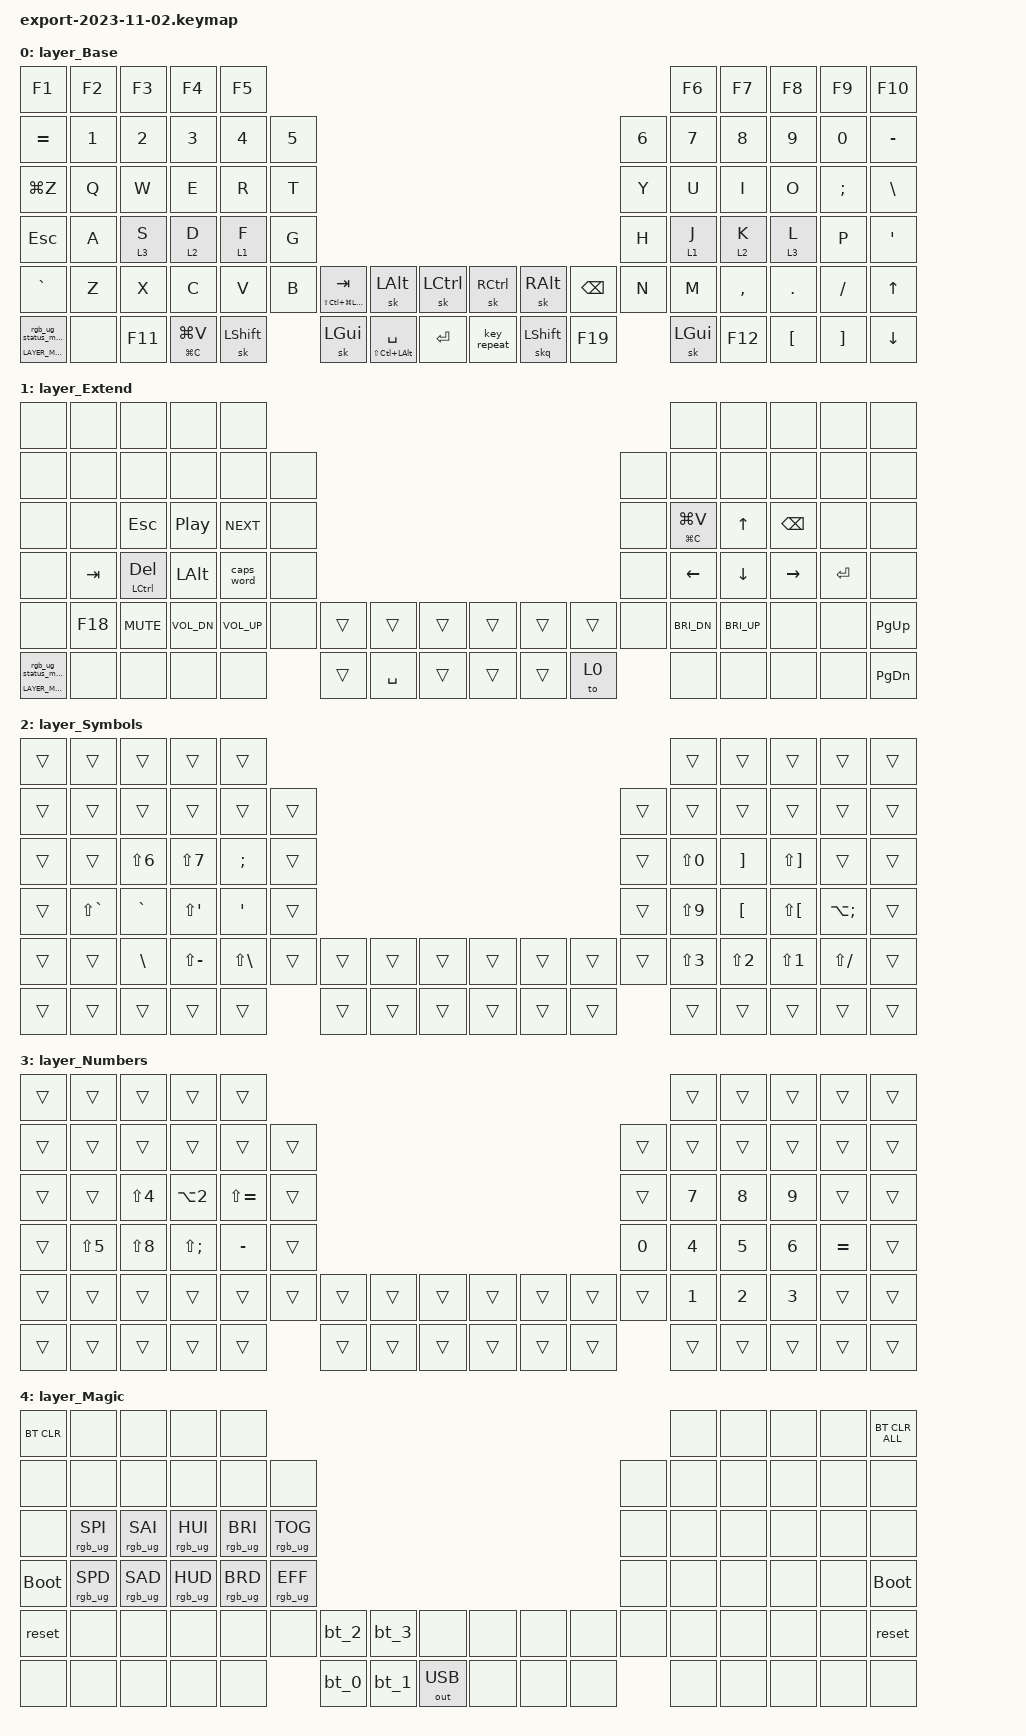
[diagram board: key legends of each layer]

/*
 * Copyright (c) 2020 The ZMK Contributors
 * Copyright (c) 2023 Innaworks Development Limited, trading as MoErgo
 *
 * SPDX-License-Identifier: MIT
 */


/* THIS FILE WAS GENERATED BY GLOVE80 LAYOUT EDITOR
 *
 * This file was generated automatically. You may or may not want to
 * edit it directly.
 */

#include <behaviors.dtsi>
/* Include all behaviour includes needed */
#include <dt-bindings/zmk/outputs.h>
#include <dt-bindings/zmk/keys.h>
#include <dt-bindings/zmk/bt.h>
#include <dt-bindings/zmk/rgb.h>

/* Automatically generated layer name #define */
#define LAYER_Base 0
#define LAYER_Extend 1
#define LAYER_Symbols 2
#define LAYER_Numbers 3
#define LAYER_Magic 4

/* To deal with the situation where there is no Lower layer, to keep &lower happy */
#ifndef LAYER_Lower
#define LAYER_Lower 0
#endif

/ {
    /* Glove80 system behavior & macros */
    behaviors {
        // For the "layer" key, it'd nice to be able to use it as either a shift or a toggle.
        // Configure it as a tap dance, so the first tap (or hold) is a &mo and the second tap is a &to
        lower: lower {
            compatible = "zmk,behavior-tap-dance";
            label = "LAYER_TAP_DANCE";
            #binding-cells = <0>;
            tapping-term-ms = <200>;
            bindings = <&mo LAYER_Lower>, <&to LAYER_Lower>;
        };
    };
};

/ {
    macros {
        rgb_ug_status_macro: rgb_ug_status_macro {
            label = "RGB_UG_STATUS";
            compatible = "zmk,behavior-macro";
            #binding-cells = <0>;
            bindings
                = <&rgb_ug RGB_STATUS>;
        };

        bt_0: bt_0 {
            label = "BT_0";
            compatible = "zmk,behavior-macro";
            #binding-cells = <0>;
            bindings
                = <&out OUT_BLE>,
                  <&bt BT_SEL 0>;
        };

        bt_1: bt_1 {
            label = "BT_1";
            compatible = "zmk,behavior-macro";
            #binding-cells = <0>;
            bindings
                = <&out OUT_BLE>,
                  <&bt BT_SEL 1>;
        };

        bt_2: bt_2 {
            label = "BT_2";
            compatible = "zmk,behavior-macro";
            #binding-cells = <0>;
            bindings
                = <&out OUT_BLE>,
                  <&bt BT_SEL 2>;
        };

        bt_3: bt_3 {
            label = "BT_3";
            compatible = "zmk,behavior-macro";
            #binding-cells = <0>;
            bindings
                = <&out OUT_BLE>,
                  <&bt BT_SEL 3>;
        };
    };
};

/ {
    magic: magic {
        compatible = "zmk,behavior-hold-tap";
        label = "MAGIC_HOLD_TAP";
        #binding-cells = <2>;
        flavor = "tap-preferred";
        tapping-term-ms = <200>;
        bindings = <&mo>, <&rgb_ug_status_macro>;
    };
};

    /* #define for key positions */
#define POS_LH_T1 52
#define POS_LH_T2 53
#define POS_LH_T3 54
#define POS_LH_T4 69
#define POS_LH_T5 70
#define POS_LH_T6 71
#define POS_LH_C1R2 15
#define POS_LH_C1R3 27
#define POS_LH_C1R4 39
#define POS_LH_C1R5 51
#define POS_LH_C2R1 4
#define POS_LH_C2R2 14
#define POS_LH_C2R3 26
#define POS_LH_C2R4 38
#define POS_LH_C2R5 50
#define POS_LH_C2R6 68
#define POS_LH_C3R1 3
#define POS_LH_C3R2 13
#define POS_LH_C3R3 25
#define POS_LH_C3R4 37
#define POS_LH_C3R5 49
#define POS_LH_C3R6 67
#define POS_LH_C4R1 2
#define POS_LH_C4R2 12
#define POS_LH_C4R3 24
#define POS_LH_C4R4 36
#define POS_LH_C4R5 48
#define POS_LH_C4R6 66
#define POS_LH_C5R1 1
#define POS_LH_C5R2 11
#define POS_LH_C5R3 23
#define POS_LH_C5R4 35
#define POS_LH_C5R5 47
#define POS_LH_C5R6 65
#define POS_LH_C6R1 0
#define POS_LH_C6R2 10
#define POS_LH_C6R3 22
#define POS_LH_C6R4 34
#define POS_LH_C6R5 46
#define POS_LH_C6R6 64
#define POS_RH_T1 57
#define POS_RH_T2 56
#define POS_RH_T3 55
#define POS_RH_T4 74
#define POS_RH_T5 73
#define POS_RH_T6 72
#define POS_RH_C1R2 16
#define POS_RH_C1R3 28
#define POS_RH_C1R4 40
#define POS_RH_C1R5 58
#define POS_RH_C2R1 5
#define POS_RH_C2R2 17
#define POS_RH_C2R3 29
#define POS_RH_C2R4 41
#define POS_RH_C2R5 59
#define POS_RH_C2R6 75
#define POS_RH_C3R1 6
#define POS_RH_C3R2 18
#define POS_RH_C3R3 30
#define POS_RH_C3R4 42
#define POS_RH_C3R5 60
#define POS_RH_C3R6 76
#define POS_RH_C4R1 7
#define POS_RH_C4R2 19
#define POS_RH_C4R3 31
#define POS_RH_C4R4 43
#define POS_RH_C4R5 61
#define POS_RH_C4R6 77
#define POS_RH_C5R1 8
#define POS_RH_C5R2 20
#define POS_RH_C5R3 32
#define POS_RH_C5R4 44
#define POS_RH_C5R5 62
#define POS_RH_C5R6 78
#define POS_RH_C6R1 9
#define POS_RH_C6R2 21
#define POS_RH_C6R3 33
#define POS_RH_C6R4 45
#define POS_RH_C6R5 63
#define POS_RH_C6R6 79

    /* Custom Defined Behaviors */
/ {
    #define MEH LS(LC(LALT))
#define HYPER LS(LC(LG(LALT)))

behaviors {
    behavior_mod_tap {
        tapping-term-ms = <220>;
        flavor = "tap-preferred";
    };

    behavior_layer_tap {
        tapping-term-ms = <220>;
        flavor = "tap-preferred";
    };

    skq: sticky_key_quick_release {
        compatible = "zmk,behavior-sticky-key";
        label = "STICKY_KEY_QUICK_RELEASE";
        #binding-cells = <1>;
        bindings = <&kp>;
        release-after-ms = <1000>;
        quick-release;
        ignore-modifiers;
      };
};
};

    /* Automatically generated keymap */
/ {
    keymap {
        compatible = "zmk,keymap";


        layer_Base {
            bindings = <
               &kp F1  &kp F2   &kp F3           &kp F4     &kp F5                                                                                                &kp F6     &kp F7    &kp F8    &kp F9    &kp F10
            &kp EQUAL  &kp N1   &kp N2           &kp N3     &kp N4  &kp N5                                                                              &kp N6    &kp N7     &kp N8    &kp N9    &kp N0  &kp MINUS
            &kp LG(Z)   &kp Q    &kp W            &kp E      &kp R   &kp T                                                                               &kp Y     &kp U      &kp I     &kp O  &kp SEMI   &kp BSLH
              &kp ESC   &kp A  &lt 3 S          &lt 2 D    &lt 1 F   &kp G                                                                               &kp H   &lt 1 J    &lt 2 K   &lt 3 L     &kp P    &kp SQT
            &kp GRAVE   &kp Z    &kp X            &kp C      &kp V   &kp B  &mt HYPER TAB       &sk LALT  &sk LCTRL    &sk RCTRL    &sk RALT  &kp BSPC   &kp N     &kp M  &kp COMMA   &kp DOT  &kp FSLH     &kp UP
 &magic LAYER_Magic 0   &none  &kp F11  &mt LG(C) LG(V)  &sk LSHFT               &sk LGUI  &mt MEH SPACE    &kp RET  &key_repeat  &skq LSHFT   &kp F19          &sk LGUI    &kp F12  &kp LBKT  &kp RBKT   &kp DOWN
            >;
        };

        layer_Extend {
            bindings = <
                &none    &none          &none         &none         &none                                                                               &none         &none      &none    &none      &none
                &none    &none          &none         &none         &none   &none                                                      &none            &none         &none      &none    &none      &none
                &none    &none        &kp ESC      &kp C_PP    &kp C_NEXT   &none                                                      &none  &mt LG(C) LG(V)        &kp UP   &kp BSPC    &none      &none
                &none  &kp TAB  &mt LCTRL DEL      &kp LALT    &caps_word   &none                                                      &none         &kp LEFT      &kp DOWN  &kp RIGHT  &kp RET      &none
                &none  &kp F18     &kp C_MUTE  &kp C_VOL_DN  &kp C_VOL_UP   &none  &trans     &trans  &trans  &trans  &trans  &trans   &none     &kp C_BRI_DN  &kp C_BRI_UP      &none    &none  &kp PG_UP
 &magic LAYER_Magic 0    &none          &none         &none         &none          &trans  &kp SPACE  &trans  &trans  &trans   &to 0                    &none         &none      &none    &none  &kp PG_DN
            >;
        };

        layer_Symbols {
            bindings = <
 &trans         &trans      &trans         &trans        &trans                                                                      &trans      &trans        &trans        &trans  &trans
 &trans         &trans      &trans         &trans        &trans  &trans                                                  &trans      &trans      &trans        &trans        &trans  &trans
 &trans         &trans  &kp LS(N6)     &kp LS(N7)      &kp SEMI  &trans                                                  &trans  &kp LS(N0)    &kp RBKT  &kp LS(RBKT)        &trans  &trans
 &trans  &kp LS(GRAVE)   &kp GRAVE    &kp LS(SQT)       &kp SQT  &trans                                                  &trans  &kp LS(N9)    &kp LBKT  &kp LS(LBKT)  &kp LA(SEMI)  &trans
 &trans         &trans    &kp BSLH  &kp LS(MINUS)  &kp LS(BSLH)  &trans  &trans  &trans  &trans  &trans  &trans  &trans  &trans  &kp LS(N3)  &kp LS(N2)    &kp LS(N1)  &kp LS(FSLH)  &trans
 &trans         &trans      &trans         &trans        &trans          &trans  &trans  &trans  &trans  &trans  &trans              &trans      &trans        &trans        &trans  &trans
            >;
        };

        layer_Numbers {
            bindings = <
 &trans      &trans      &trans        &trans         &trans                                                                  &trans  &trans  &trans     &trans  &trans
 &trans      &trans      &trans        &trans         &trans  &trans                                                  &trans  &trans  &trans  &trans     &trans  &trans
 &trans      &trans  &kp LS(N4)    &kp LA(N2)  &kp LS(EQUAL)  &trans                                                  &trans  &kp N7  &kp N8  &kp N9     &trans  &trans
 &trans  &kp LS(N5)  &kp LS(N8)  &kp LS(SEMI)      &kp MINUS  &trans                                                  &kp N0  &kp N4  &kp N5  &kp N6  &kp EQUAL  &trans
 &trans      &trans      &trans        &trans         &trans  &trans  &trans  &trans  &trans  &trans  &trans  &trans  &trans  &kp N1  &kp N2  &kp N3     &trans  &trans
 &trans      &trans      &trans        &trans         &trans          &trans  &trans  &trans  &trans  &trans  &trans          &trans  &trans  &trans     &trans  &trans
            >;
        };

        layer_Magic {
            bindings = <
  &bt BT_CLR            &none            &none            &none            &none                                                                                  &none   &none   &none   &none  &bt BT_CLR_ALL
       &none            &none            &none            &none            &none            &none                                                         &none   &none   &none   &none   &none           &none
       &none  &rgb_ug RGB_SPI  &rgb_ug RGB_SAI  &rgb_ug RGB_HUI  &rgb_ug RGB_BRI  &rgb_ug RGB_TOG                                                         &none   &none   &none   &none   &none           &none
 &bootloader  &rgb_ug RGB_SPD  &rgb_ug RGB_SAD  &rgb_ug RGB_HUD  &rgb_ug RGB_BRD  &rgb_ug RGB_EFF                                                         &none   &none   &none   &none   &none     &bootloader
      &reset            &none            &none            &none            &none            &none   &bt_2   &bt_3         &none   &none   &none   &none   &none   &none   &none   &none   &none          &reset
       &none            &none            &none            &none            &none                    &bt_0   &bt_1  &out OUT_USB   &none   &none   &none           &none   &none   &none   &none           &none
            >;
        };

    };
};
